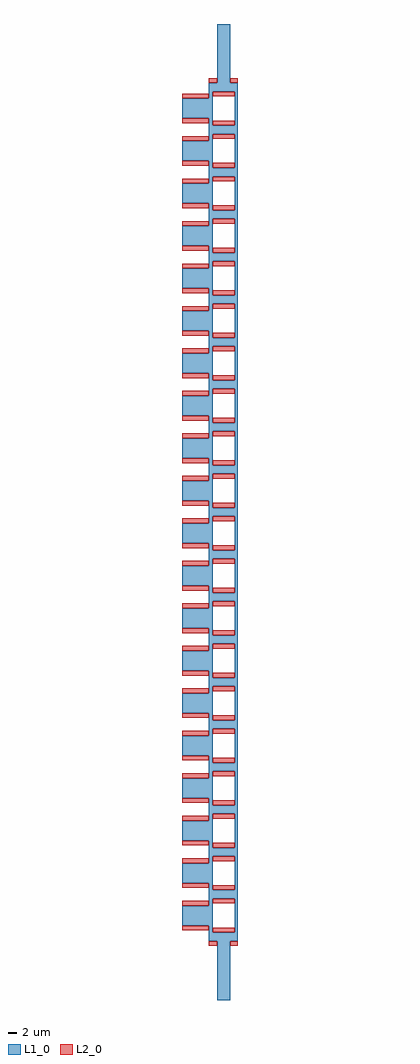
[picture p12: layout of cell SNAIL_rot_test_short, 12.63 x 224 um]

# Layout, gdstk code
import gdstk
lib = gdstk.Library(unit=1e-6, precision=1e-09)
def R(c, l, rs):  # rectangles x0, y0, x1, y1
    for r in rs: c.add(gdstk.rectangle(r[:2], r[2:], *l))
def A(c, l, x, y, w, h, nx, ny, dx, dy):  # array of equal rectangles
    R(c, l, [(x+i*dx, y+j*dy, x+i*dx+w, y+j*dy+h) for i in range(nx) for j in range(ny)])
def P(c, l, *ps):  # polygons
    for p in ps: c.add(gdstk.Polygon(p, *l))
L1_0 = (1, 0)
L2_0 = (2, 0)

snail_rot_test_short = lib.new_cell('SNAIL_rot_test_short')
A(snail_rot_test_short, L1_0, -9.5, -93.925, 7, 2.6, 1, 20, 0, 9.75)
R(snail_rot_test_short, L1_0, [(-1.5,-112,1.5,-98.5), (-1.5,98.5,1.5,112)])
P(snail_rot_test_short, L1_0, [(3.13,-98.5),(-3.5,-98.5),(-3.5,-94.925),(-9.5,-94.925),(-9.5,-93.925),(-2.5,-93.925),(-2.5,-96.5),(2.5,-96.5),(2.5,-92.625),(3.13,-92.625),(3.13,-93.625),(3.13,-93.625)],
  [(3.13,-87.75),(-3.5,-87.75),(-3.5,-90.325),(-9.5,-90.325),(-9.5,-91.325),(-2.5,-91.325),(-2.5,-88.75),(2.5,-88.75),(2.5,-92.625),(3.13,-92.625),(3.13,-91.625),(3.13,-91.625)],
  [(3.13,-87.75),(-3.5,-87.75),(-3.5,-85.175),(-9.5,-85.175),(-9.5,-84.175),(-2.5,-84.175),(-2.5,-86.75),(2.5,-86.75),(2.5,-82.875),(3.13,-82.875),(3.13,-83.875),(3.13,-83.875)],
  [(3.13,-78),(-3.5,-78),(-3.5,-80.575),(-9.5,-80.575),(-9.5,-81.575),(-2.5,-81.575),(-2.5,-79),(2.5,-79),(2.5,-82.875),(3.13,-82.875),(3.13,-81.875),(3.13,-81.875)],
  [(3.13,-78),(-3.5,-78),(-3.5,-75.425),(-9.5,-75.425),(-9.5,-74.425),(-2.5,-74.425),(-2.5,-77),(2.5,-77),(2.5,-73.125),(3.13,-73.125),(3.13,-74.125),(3.13,-74.125)],
  [(3.13,-68.25),(-3.5,-68.25),(-3.5,-70.825),(-9.5,-70.825),(-9.5,-71.825),(-2.5,-71.825),(-2.5,-69.25),(2.5,-69.25),(2.5,-73.125),(3.13,-73.125),(3.13,-72.125),(3.13,-72.125)],
  [(3.13,-68.25),(-3.5,-68.25),(-3.5,-65.675),(-9.5,-65.675),(-9.5,-64.675),(-2.5,-64.675),(-2.5,-67.25),(2.5,-67.25),(2.5,-63.375),(3.13,-63.375),(3.13,-64.375),(3.13,-64.375)],
  [(3.13,-58.5),(-3.5,-58.5),(-3.5,-61.075),(-9.5,-61.075),(-9.5,-62.075),(-2.5,-62.075),(-2.5,-59.5),(2.5,-59.5),(2.5,-63.375),(3.13,-63.375),(3.13,-62.375),(3.13,-62.375)],
  [(3.13,-58.5),(-3.5,-58.5),(-3.5,-55.925),(-9.5,-55.925),(-9.5,-54.925),(-2.5,-54.925),(-2.5,-57.5),(2.5,-57.5),(2.5,-53.625),(3.13,-53.625),(3.13,-54.625),(3.13,-54.625)],
  [(3.13,-48.75),(-3.5,-48.75),(-3.5,-51.325),(-9.5,-51.325),(-9.5,-52.325),(-2.5,-52.325),(-2.5,-49.75),(2.5,-49.75),(2.5,-53.625),(3.13,-53.625),(3.13,-52.625),(3.13,-52.625)],
  [(3.13,-48.75),(-3.5,-48.75),(-3.5,-46.175),(-9.5,-46.175),(-9.5,-45.175),(-2.5,-45.175),(-2.5,-47.75),(2.5,-47.75),(2.5,-43.875),(3.13,-43.875),(3.13,-44.875),(3.13,-44.875)],
  [(3.13,-39),(-3.5,-39),(-3.5,-41.575),(-9.5,-41.575),(-9.5,-42.575),(-2.5,-42.575),(-2.5,-40),(2.5,-40),(2.5,-43.875),(3.13,-43.875),(3.13,-42.875),(3.13,-42.875)],
  [(3.13,-39),(-3.5,-39),(-3.5,-36.425),(-9.5,-36.425),(-9.5,-35.425),(-2.5,-35.425),(-2.5,-38),(2.5,-38),(2.5,-34.125),(3.13,-34.125),(3.13,-35.125),(3.13,-35.125)],
  [(3.13,-29.25),(-3.5,-29.25),(-3.5,-31.825),(-9.5,-31.825),(-9.5,-32.825),(-2.5,-32.825),(-2.5,-30.25),(2.5,-30.25),(2.5,-34.125),(3.13,-34.125),(3.13,-33.125),(3.13,-33.125)],
  [(3.13,-29.25),(-3.5,-29.25),(-3.5,-26.675),(-9.5,-26.675),(-9.5,-25.675),(-2.5,-25.675),(-2.5,-28.25),(2.5,-28.25),(2.5,-24.375),(3.13,-24.375),(3.13,-25.375),(3.13,-25.375)],
  [(3.13,-19.5),(-3.5,-19.5),(-3.5,-22.075),(-9.5,-22.075),(-9.5,-23.075),(-2.5,-23.075),(-2.5,-20.5),(2.5,-20.5),(2.5,-24.375),(3.13,-24.375),(3.13,-23.375),(3.13,-23.375)],
  [(3.13,-19.5),(-3.5,-19.5),(-3.5,-16.925),(-9.5,-16.925),(-9.5,-15.925),(-2.5,-15.925),(-2.5,-18.5),(2.5,-18.5),(2.5,-14.625),(3.13,-14.625),(3.13,-15.625),(3.13,-15.625)],
  [(3.13,-9.75),(-3.5,-9.75),(-3.5,-12.325),(-9.5,-12.325),(-9.5,-13.325),(-2.5,-13.325),(-2.5,-10.75),(2.5,-10.75),(2.5,-14.625),(3.13,-14.625),(3.13,-13.625),(3.13,-13.625)],
  [(3.13,-9.75),(-3.5,-9.75),(-3.5,-7.175),(-9.5,-7.175),(-9.5,-6.175),(-2.5,-6.175),(-2.5,-8.75),(2.5,-8.75),(2.5,-4.875),(3.13,-4.875),(3.13,-5.875),(3.13,-5.875)],
  [(3.13,0),(-3.5,0),(-3.5,-2.575),(-9.5,-2.575),(-9.5,-3.575),(-2.5,-3.575),(-2.5,-1),(2.5,-1),(2.5,-4.875),(3.13,-4.875),(3.13,-3.875),(3.13,-3.875)],
  [(3.13,0),(-3.5,0),(-3.5,2.575),(-9.5,2.575),(-9.5,3.575),(-2.5,3.575),(-2.5,1),(2.5,1),(2.5,4.875),(3.13,4.875),(3.13,3.875),(3.13,3.875)],
  [(3.13,9.75),(-3.5,9.75),(-3.5,7.175),(-9.5,7.175),(-9.5,6.175),(-2.5,6.175),(-2.5,8.75),(2.5,8.75),(2.5,4.875),(3.13,4.875),(3.13,5.875),(3.13,5.875)],
  [(3.13,9.75),(-3.5,9.75),(-3.5,12.325),(-9.5,12.325),(-9.5,13.325),(-2.5,13.325),(-2.5,10.75),(2.5,10.75),(2.5,14.625),(3.13,14.625),(3.13,13.625),(3.13,13.625)],
  [(3.13,19.5),(-3.5,19.5),(-3.5,16.925),(-9.5,16.925),(-9.5,15.925),(-2.5,15.925),(-2.5,18.5),(2.5,18.5),(2.5,14.625),(3.13,14.625),(3.13,15.625),(3.13,15.625)],
  [(3.13,19.5),(-3.5,19.5),(-3.5,22.075),(-9.5,22.075),(-9.5,23.075),(-2.5,23.075),(-2.5,20.5),(2.5,20.5),(2.5,24.375),(3.13,24.375),(3.13,23.375),(3.13,23.375)],
  [(3.13,29.25),(-3.5,29.25),(-3.5,26.675),(-9.5,26.675),(-9.5,25.675),(-2.5,25.675),(-2.5,28.25),(2.5,28.25),(2.5,24.375),(3.13,24.375),(3.13,25.375),(3.13,25.375)],
  [(3.13,29.25),(-3.5,29.25),(-3.5,31.825),(-9.5,31.825),(-9.5,32.825),(-2.5,32.825),(-2.5,30.25),(2.5,30.25),(2.5,34.125),(3.13,34.125),(3.13,33.125),(3.13,33.125)],
  [(3.13,39),(-3.5,39),(-3.5,36.425),(-9.5,36.425),(-9.5,35.425),(-2.5,35.425),(-2.5,38),(2.5,38),(2.5,34.125),(3.13,34.125),(3.13,35.125),(3.13,35.125)],
  [(3.13,39),(-3.5,39),(-3.5,41.575),(-9.5,41.575),(-9.5,42.575),(-2.5,42.575),(-2.5,40),(2.5,40),(2.5,43.875),(3.13,43.875),(3.13,42.875),(3.13,42.875)],
  [(3.13,48.75),(-3.5,48.75),(-3.5,46.175),(-9.5,46.175),(-9.5,45.175),(-2.5,45.175),(-2.5,47.75),(2.5,47.75),(2.5,43.875),(3.13,43.875),(3.13,44.875),(3.13,44.875)],
  [(3.13,48.75),(-3.5,48.75),(-3.5,51.325),(-9.5,51.325),(-9.5,52.325),(-2.5,52.325),(-2.5,49.75),(2.5,49.75),(2.5,53.625),(3.13,53.625),(3.13,52.625),(3.13,52.625)],
  [(3.13,58.5),(-3.5,58.5),(-3.5,55.925),(-9.5,55.925),(-9.5,54.925),(-2.5,54.925),(-2.5,57.5),(2.5,57.5),(2.5,53.625),(3.13,53.625),(3.13,54.625),(3.13,54.625)],
  [(3.13,58.5),(-3.5,58.5),(-3.5,61.075),(-9.5,61.075),(-9.5,62.075),(-2.5,62.075),(-2.5,59.5),(2.5,59.5),(2.5,63.375),(3.13,63.375),(3.13,62.375),(3.13,62.375)],
  [(3.13,68.25),(-3.5,68.25),(-3.5,65.675),(-9.5,65.675),(-9.5,64.675),(-2.5,64.675),(-2.5,67.25),(2.5,67.25),(2.5,63.375),(3.13,63.375),(3.13,64.375),(3.13,64.375)],
  [(3.13,68.25),(-3.5,68.25),(-3.5,70.825),(-9.5,70.825),(-9.5,71.825),(-2.5,71.825),(-2.5,69.25),(2.5,69.25),(2.5,73.125),(3.13,73.125),(3.13,72.125),(3.13,72.125)],
  [(3.13,78),(-3.5,78),(-3.5,75.425),(-9.5,75.425),(-9.5,74.425),(-2.5,74.425),(-2.5,77),(2.5,77),(2.5,73.125),(3.13,73.125),(3.13,74.125),(3.13,74.125)],
  [(3.13,78),(-3.5,78),(-3.5,80.575),(-9.5,80.575),(-9.5,81.575),(-2.5,81.575),(-2.5,79),(2.5,79),(2.5,82.875),(3.13,82.875),(3.13,81.875),(3.13,81.875)],
  [(3.13,87.75),(-3.5,87.75),(-3.5,85.175),(-9.5,85.175),(-9.5,84.175),(-2.5,84.175),(-2.5,86.75),(2.5,86.75),(2.5,82.875),(3.13,82.875),(3.13,83.875),(3.13,83.875)],
  [(3.13,87.75),(-3.5,87.75),(-3.5,90.325),(-9.5,90.325),(-9.5,91.325),(-2.5,91.325),(-2.5,88.75),(2.5,88.75),(2.5,92.625),(3.13,92.625),(3.13,91.625),(3.13,91.625)],
  [(3.13,98.5),(-3.5,98.5),(-3.5,94.925),(-9.5,94.925),(-9.5,93.925),(-2.5,93.925),(-2.5,96.5),(2.5,96.5),(2.5,92.625),(3.13,92.625),(3.13,93.625),(3.13,93.625)])
R(snail_rot_test_short, L2_0, [(-3.5,-99.6,-1.5,-98.5), (1.5,-99.6,3.13,-98.5), (-2.5,-96.5,2.5,-95.4), (-9.5,-96.025,-3.5,-94.925), (-9.5,-90.325,-3.5,-89.225), (-2.5,-89.85,2.5,-88.75), (-2.5,-86.75,2.5,-85.65), (-9.5,-86.275,-3.5,-85.175), (-9.5,-80.575,-3.5,-79.475), (-2.5,-80.1,2.5,-79), (-2.5,-77,2.5,-75.9), (-9.5,-76.525,-3.5,-75.425), (-9.5,-70.825,-3.5,-69.725), (-2.5,-70.35,2.5,-69.25), (-2.5,-67.25,2.5,-66.15), (-9.5,-66.775,-3.5,-65.675), (-9.5,-61.075,-3.5,-59.975), (-2.5,-60.6,2.5,-59.5), (-2.5,-57.5,2.5,-56.4), (-9.5,-57.025,-3.5,-55.925), (-9.5,-51.325,-3.5,-50.225), (-2.5,-50.85,2.5,-49.75), (-2.5,-47.75,2.5,-46.65), (-9.5,-47.275,-3.5,-46.175), (-9.5,-41.575,-3.5,-40.475), (-2.5,-41.1,2.5,-40), (-2.5,-38,2.5,-36.9), (-9.5,-37.525,-3.5,-36.425), (-9.5,-31.825,-3.5,-30.725), (-2.5,-31.35,2.5,-30.25), (-2.5,-28.25,2.5,-27.15), (-9.5,-27.775,-3.5,-26.675), (-9.5,-22.075,-3.5,-20.975), (-2.5,-21.6,2.5,-20.5), (-2.5,-18.5,2.5,-17.4), (-9.5,-18.025,-3.5,-16.925), (-9.5,-12.325,-3.5,-11.225), (-2.5,-11.85,2.5,-10.75), (-2.5,-8.75,2.5,-7.65), (-9.5,-8.275,-3.5,-7.175), (-9.5,-2.575,-3.5,-1.475), (-2.5,-2.1,2.5,-1), (-2.5,1,2.5,2.1), (-9.5,1.475,-3.5,2.575), (-9.5,7.175,-3.5,8.275), (-2.5,7.65,2.5,8.75), (-2.5,10.75,2.5,11.85), (-9.5,11.225,-3.5,12.325), (-9.5,16.925,-3.5,18.025), (-2.5,17.4,2.5,18.5), (-2.5,20.5,2.5,21.6), (-9.5,20.975,-3.5,22.075), (-9.5,26.675,-3.5,27.775), (-2.5,27.15,2.5,28.25), (-2.5,30.25,2.5,31.35), (-9.5,30.725,-3.5,31.825), (-9.5,36.425,-3.5,37.525), (-2.5,36.9,2.5,38), (-2.5,40,2.5,41.1), (-9.5,40.475,-3.5,41.575), (-9.5,46.175,-3.5,47.275), (-2.5,46.65,2.5,47.75), (-2.5,49.75,2.5,50.85), (-9.5,50.225,-3.5,51.325), (-9.5,55.925,-3.5,57.025), (-2.5,56.4,2.5,57.5), (-2.5,59.5,2.5,60.6), (-9.5,59.975,-3.5,61.075), (-9.5,65.675,-3.5,66.775), (-2.5,66.15,2.5,67.25), (-2.5,69.25,2.5,70.35), (-9.5,69.725,-3.5,70.825), (-9.5,75.425,-3.5,76.525), (-2.5,75.9,2.5,77), (-2.5,79,2.5,80.1), (-9.5,79.475,-3.5,80.575), (-9.5,85.175,-3.5,86.275), (-2.5,85.65,2.5,86.75), (-2.5,88.75,2.5,89.85), (-9.5,89.225,-3.5,90.325), (-9.5,94.925,-3.5,96.025), (-2.5,95.4,2.5,96.5), (-3.5,98.5,-1.5,99.6), (1.5,98.5,3.13,99.6)])

lib.write_gds('SNAIL_rot_test_short.gds')
